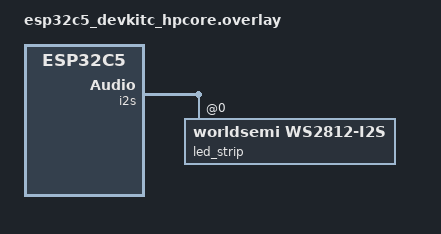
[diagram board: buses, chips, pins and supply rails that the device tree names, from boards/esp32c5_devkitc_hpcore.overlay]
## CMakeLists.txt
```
# SPDX-License-Identifier: Apache-2.0

cmake_minimum_required(VERSION 3.20.0)

find_package(Zephyr REQUIRED HINTS $ENV{ZEPHYR_BASE})
project(wifi)

FILE(GLOB app_sources src/*.c)

target_sources(app PRIVATE ${app_sources})
```

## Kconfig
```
# Copyright (c) 2019 Nordic Semiconductor ASA
# SPDX-License-Identifier: Apache-2.0

menu "WS2812 Sample Configuration"

config SAMPLE_LED_UPDATE_DELAY
	int "Delay between LED updates in ms"
	default 50
	help
	  Delay between LED updates in ms.

config SAMPLE_LED_BRIGHTNESS
	int "LED brightness"
	default 5
	range 1 255
	help
	  Brightness level of each LED. Defaults to a low value to make
	  it easier to distinguish colors.

endmenu

source "Kconfig.zephyr"
```

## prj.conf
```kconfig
CONFIG_EARLY_CONSOLE=y

CONFIG_NETWORKING=y
CONFIG_TEST_RANDOM_GENERATOR=y

CONFIG_MAIN_STACK_SIZE=5200
CONFIG_SHELL_STACK_SIZE=5200
CONFIG_NET_TX_STACK_SIZE=2048
CONFIG_NET_RX_STACK_SIZE=2048

CONFIG_NET_PKT_RX_COUNT=10
CONFIG_NET_PKT_TX_COUNT=10
CONFIG_NET_BUF_RX_COUNT=20
CONFIG_NET_BUF_TX_COUNT=20
CONFIG_NET_MAX_CONTEXTS=10
CONFIG_NET_DHCPV4=y

CONFIG_NET_IPV4=y
CONFIG_NET_IPV6=n

CONFIG_NET_TCP=y

CONFIG_NET_LOG=y
CONFIG_INIT_STACKS=y

CONFIG_NET_SHELL=y

CONFIG_NET_STATISTICS=y
CONFIG_NET_STATISTICS_PERIODIC_OUTPUT=n

CONFIG_WIFI=y
CONFIG_WIFI_LOG_LEVEL_ERR=y
CONFIG_NET_L2_WIFI_SHELL=y
# printing of scan results puts pressure on queues in new locking
# design in net_mgmt. So, use a higher timeout for a crowded
# environment.
CONFIG_NET_MGMT_EVENT_QUEUE_TIMEOUT=5000
CONFIG_NET_MGMT_EVENT_QUEUE_SIZE=16

# LED strip driver
CONFIG_LOG=y
CONFIG_LED_STRIP=y
CONFIG_LED_STRIP_LOG_LEVEL_DBG=y
```

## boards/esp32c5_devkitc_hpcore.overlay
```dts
/*
 * Copyright (c) 2026 Espressif Systems (Shanghai) Co., Ltd.
 *
 * SPDX-License-Identifier: Apache-2.0
 */

#include <zephyr/dt-bindings/led/led.h>

/ {
	aliases {
		led-strip = &led_strip;
	};
};

&i2s_default {
	group1 {
		pinmux = <I2S_O_SD_GPIO27>;
	};
};

i2s_led: &i2s {
	status = "okay";

	dmas = <&dma 3>;
	dma-names = "tx";

	led_strip: ws2812@0 {
		compatible = "worldsemi,ws2812-i2s";

		reg = <0>;
		chain-length = <1>;
		color-mapping = <LED_COLOR_ID_GREEN
				 LED_COLOR_ID_RED
				 LED_COLOR_ID_BLUE>;
		reset-delay = <500>;
	};
};

&dma {
	status = "okay";
};
```

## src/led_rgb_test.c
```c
/*
 * Copyright (c) 2017 Linaro Limited
 * Copyright (c) 2018 Intel Corporation
 * Copyright (c) 2024 TOKITA Hiroshi
 *
 * SPDX-License-Identifier: Apache-2.0
 */

 #include <zephyr/logging/log.h>

 LOG_MODULE_REGISTER(led_strip_sample, LOG_LEVEL_DBG);

#include <zephyr/kernel.h>
#include <zephyr/drivers/led_strip.h>
#include <zephyr/device.h>
#include <zephyr/drivers/spi.h>
#include <zephyr/sys/util.h>

#define STRIP_NODE		DT_ALIAS(led_strip)

#if DT_NODE_HAS_PROP(DT_ALIAS(led_strip), chain_length)
#define STRIP_NUM_PIXELS	DT_PROP(DT_ALIAS(led_strip), chain_length)
#else
#error Unable to determine length of LED strip
#endif

#define RGB(_r, _g, _b) { .r = (_r), .g = (_g), .b = (_b) }

static struct led_rgb pixels[STRIP_NUM_PIXELS];

static const struct device *const strip = DEVICE_DT_GET(STRIP_NODE);

int is_strip_ready(void)
{
    if (!device_is_ready(strip)) {
        LOG_ERR("LED strip device not ready");
        return -ENODEV;
    }

    return 0;
}

static void hsv_to_rgb(uint16_t h, uint8_t *r, uint8_t *g, uint8_t *b)
{
	float hh = (h % 360) / 60.0f;
    int i = (int)hh;
    float ff = hh - i;
    float p = 0.0f;
    float q = 1.0f - ff;
    float t = ff;

    float rf, gf, bf;
    switch (i) {
        case 0: rf = 1; gf = t; bf = p; break;
        case 1: rf = q; gf = 1; bf = p; break;
        case 2: rf = p; gf = 1; bf = t; break;
        case 3: rf = p; gf = q; bf = 1; break;
        case 4: rf = t; gf = p; bf = 1; break;
        case 5:
        default: rf = 1; gf = p; bf = q; break;
    }
    *r = (uint8_t)(rf * CONFIG_SAMPLE_LED_BRIGHTNESS);
    *g = (uint8_t)(gf * CONFIG_SAMPLE_LED_BRIGHTNESS);
    *b = (uint8_t)(bf * CONFIG_SAMPLE_LED_BRIGHTNESS);
}

int update_strip(uint16_t *hue, uint8_t *r, uint8_t *g, uint8_t *b)
{
    hsv_to_rgb(*hue, r, g, b);

    uint8_t red, green, blue;
    red = *r;
    green = *g;
    blue = *b;

    for (int i = 0; i < STRIP_NUM_PIXELS; i++) {
        pixels[i].r = red;
        pixels[i].g = green;
        pixels[i].b = blue;
    }
    // LOG_INF("Hue %u => RGB %u,%u,%u", *hue, *r, *g, *b);

    return led_strip_update_rgb(strip, pixels, STRIP_NUM_PIXELS);
}
```

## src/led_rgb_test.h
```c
#ifndef WIFI_LED_MCP_INC_LED_H
#define WIFI_LED_MCP_INC_LED_H

#ifdef __cplusplus
extern "C" {
#endif

#include <zephyr/kernel.h>
#include <stdint.h>
#include <stdbool.h>

#define LED_MAX 4

int is_strip_ready(void);
int update_strip(uint16_t *hue, uint8_t *r, uint8_t *g, uint8_t *b);

#ifdef __cplusplus
}
#endif

#endif /* WIFI_LED_MCP_INC_LED_H */
```

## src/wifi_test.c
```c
/*
 * Copyright (c) 2016 Intel Corporation.
 *
 * SPDX-License-Identifier: Apache-2.0
 */

 #include <errno.h>
#include <string.h>

#include "led_rgb_test.h"

#define LOG_LEVEL 4
#include <zephyr/logging/log.h>
LOG_MODULE_REGISTER(main);

#define DELAY_TIME K_MSEC(CONFIG_SAMPLE_LED_UPDATE_DELAY)

int main(void)
{
	int ret;

	ret = is_strip_ready();
	if (ret) {
		LOG_ERR("LED strip not ready");
		return ret;
	}

	uint8_t red = 0;
    uint8_t green = 0;
    uint8_t blue = 0;
    uint16_t hue = 0; /* angle 0..359 */

	for(;;) {
		ret = update_strip(&hue, &red, &green, &blue);
		if (ret) {
			LOG_ERR("couldn't update strip: %d", ret);
		}

		hue = (hue + 1) % 360;
		k_sleep(DELAY_TIME);
	}

	return 0;
}
```
